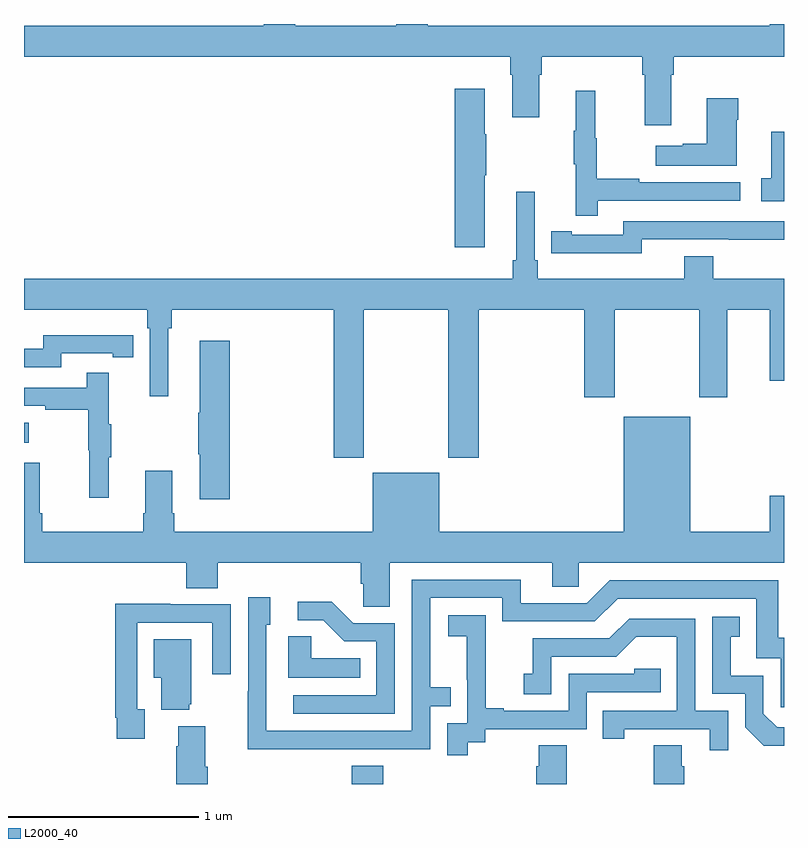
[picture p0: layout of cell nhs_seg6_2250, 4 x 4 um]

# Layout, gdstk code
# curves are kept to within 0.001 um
import gdstk
lib = gdstk.Library(unit=1e-6, precision=1e-09)
def R(c, l, rs):  # rectangles x0, y0, x1, y1
    for r in rs: c.add(gdstk.rectangle(r[:2], r[2:], *l))
def P(c, l, *ps):  # polygons
    for p in ps: c.add(gdstk.Polygon(p, *l))
L2000_40 = (2000, 40)

nhs_seg6_2250 = lib.new_cell('nhs_seg6_2250')
R(nhs_seg6_2250, L2000_40, [(246.725,951.5,246.89,951.595), (245,953.297,245.026,953.401)])
P(nhs_seg6_2250, L2000_40, [(248.407,955.232),(248.42,955.232),(248.42,955.328),(249,955.328),(249,955.5),(248.924,955.5),(248.924,955.492),(247.124,955.492),(247.124,955.5),(246.959,955.5),(246.959,955.492),(246.428,955.492),(246.428,955.5),(246.263,955.5),(246.263,955.492),(245,955.492),(245,955.328),(247.559,955.328),(247.559,955.232),(247.571,955.232),(247.571,955.008),(247.711,955.008),(247.711,955.232),(247.724,955.232),(247.724,955.328),(248.255,955.328),(248.255,955.232),(248.267,955.232),(248.267,954.966),(248.407,954.966)],
  [(247.426,954.703),(247.434,954.703),(247.434,954.92),(247.426,954.92),(247.426,955.159),(247.268,955.159),(247.268,954.324),(247.426,954.324)],
  [(248.021,954.57),(248.77,954.57),(248.77,954.666),(248.237,954.666),(248.237,954.686),(248.014,954.686),(248.014,954.9),(248.006,954.9),(248.006,955.15),(247.904,955.15),(247.904,954.937),(247.893,954.937),(247.893,954.763),(247.904,954.763),(247.904,954.492),(248.021,954.492)],
  [(248.752,954.995),(248.76,954.995),(248.76,955.108),(248.594,955.108),(248.594,954.869),(248.468,954.869),(248.468,954.859),(248.325,954.859),(248.325,954.755),(248.752,954.755)],
  [(249,954.934),(248.933,954.934),(248.933,954.687),(248.88,954.687),(248.88,954.567),(249,954.567)],
  [(246.789,953.996),(247.234,953.996),(247.234,953.217),(247.394,953.217),(247.394,953.996),(247.949,953.996),(247.949,953.535),(248.109,953.535),(248.109,953.996),(248.554,953.996),(248.554,953.535),(248.701,953.535),(248.701,953.996),(248.924,953.996),(248.924,953.622),(249,953.622),(249,954.16),(248.627,954.16),(248.627,954.277),(248.474,954.277),(248.474,954.16),(247.703,954.16),(247.703,954.256),(247.689,954.256),(247.689,954.616),(247.592,954.616),(247.592,954.256),(247.573,954.256),(247.573,954.16),(245,954.16),(245,953.996),(245.648,953.996),(245.648,953.9),(245.661,953.9),(245.661,953.541),(245.758,953.541),(245.758,953.9),(245.777,953.9),(245.777,953.996),(246.629,953.996),(246.629,953.217),(246.789,953.217)],
  [(248.25,954.366),(248.71,954.366),(248.71,954.365),(249,954.365),(249,954.462),(248.154,954.462),(248.154,954.39),(247.882,954.39),(247.882,954.41),(247.774,954.41),(247.774,954.294),(247.882,954.294),(247.882,954.293),(248.25,954.293)],
  [(245.196,953.766),(245.468,953.766),(245.468,953.746),(245.576,953.746),(245.576,953.862),(245.468,953.862),(245.468,953.863),(245.1,953.863),(245.1,953.79),(245,953.79),(245,953.694),(245.196,953.694)],
  [(246.083,953.833),(245.924,953.833),(245.924,953.453),(245.917,953.453),(245.917,953.236),(245.924,953.236),(245.924,952.998),(246.083,952.998)],
  [(245.447,953.219),(245.458,953.219),(245.458,953.393),(245.447,953.393),(245.447,953.665),(245.329,953.665),(245.329,953.586),(245,953.586),(245,953.49),(245.113,953.49),(245.113,953.47),(245.337,953.47),(245.337,953.256),(245.344,953.256),(245.344,953.007),(245.447,953.007)],
  [(246.925,952.664),(247.781,952.664),(247.781,952.537),(247.92,952.537),(247.92,952.664),(249,952.664),(249,953.017),(248.924,953.017),(248.924,952.828),(248.506,952.828),(248.506,953.434),(248.156,953.434),(248.156,952.828),(247.186,952.828),(247.186,953.137),(246.836,953.137),(246.836,952.828),(245.792,952.828),(245.792,952.924),(245.779,952.924),(245.779,953.149),(245.639,953.149),(245.639,952.924),(245.627,952.924),(245.627,952.828),(245.096,952.828),(245.096,952.924),(245.083,952.924),(245.083,953.191),(245,953.191),(245,952.664),(245.855,952.664),(245.855,952.531),(246.02,952.531),(246.02,952.664),(246.773,952.664),(246.773,952.555),(246.786,952.555),(246.786,952.432),(246.925,952.432)],
  [(246.641,951.684),(247.137,951.684),(247.137,951.909),(247.247,951.909),(247.247,952.01),(247.137,952.01),(247.137,952.479),(247.518,952.479),(247.518,952.356),(248.004,952.356),(248.124,952.476),(248.853,952.476),(248.853,952.161),(248.982,952.161),(248.982,951.903),(249,951.903),(249,952.27),(248.969,952.27),(248.969,952.572),(248.082,952.572),(247.962,952.452),(247.615,952.452),(247.615,952.575),(247.041,952.575),(247.041,951.78),(246.276,951.78),(246.276,952.338),(246.295,952.338),(246.295,952.483),(246.18,952.483),(246.18,951.989),(246.178,951.989),(246.178,951.683)],
  [(246.951,952.347),(246.732,952.347),(246.619,952.46),(246.441,952.46),(246.441,952.362),(246.575,952.362),(246.686,952.251),(246.855,952.251),(246.855,951.966),(246.417,951.966),(246.417,951.87),(246.951,951.87)],
  [(245.635,951.894),(245.595,951.894),(245.595,952.35),(245.991,952.35),(245.991,952.077),(246.087,952.077),(246.087,952.446),(245.771,952.446),(245.771,952.448),(245.479,952.448),(245.479,951.85),(245.487,951.85),(245.487,951.738),(245.635,951.738)],
  [(247.336,951.721),(247.428,951.721),(247.428,951.789),(247.962,951.789),(247.962,951.984),(248.351,951.984),(248.351,952.107),(248.211,952.107),(248.211,952.08),(247.866,952.08),(247.866,951.885),(247.525,951.885),(247.525,951.898),(247.43,951.898),(247.43,952.181),(247.431,952.181),(247.431,952.387),(247.233,952.387),(247.233,952.277),(247.331,952.277),(247.331,952.049),(247.332,952.049),(247.332,951.819),(247.227,951.819),(247.227,951.651),(247.336,951.651)],
  [(249,951.798),(248.964,951.798),(248.892,951.87),(248.892,952.071),(248.719,952.071),(248.719,952.275),(248.768,952.275),(248.768,952.381),(248.622,952.381),(248.622,951.975),(248.796,951.975),(248.796,951.798),(248.894,951.701),(249,951.701)],
  [(248.706,951.885),(248.532,951.885),(248.532,952.371),(248.186,952.371),(248.081,952.266),(247.678,952.266),(247.678,952.081),(247.629,952.081),(247.629,951.972),(247.776,951.972),(247.776,952.17),(248.118,952.17),(248.222,952.274),(248.436,952.274),(248.436,951.885),(248.047,951.885),(248.047,951.738),(248.158,951.738),(248.158,951.789),(248.609,951.789),(248.609,951.678),(248.706,951.678)],
  [(246.77,952.162),(246.513,952.162),(246.513,952.277),(246.392,952.277),(246.392,952.058),(246.77,952.058)],
  [(245.87,951.921),(245.881,951.921),(245.881,952.261),(245.684,952.261),(245.684,952.058),(245.723,952.058),(245.723,951.89),(245.87,951.89)],
  [(245.966,951.592),(245.953,951.592),(245.953,951.805),(245.813,951.805),(245.813,951.698),(245.801,951.698),(245.801,951.5),(245.966,951.5)],
  [(248.474,951.594),(248.461,951.594),(248.461,951.704),(248.314,951.704),(248.314,951.5),(248.474,951.5)],
  [(247.857,951.704),(247.709,951.704),(247.709,951.594),(247.697,951.594),(247.697,951.5),(247.857,951.5)])

lib.write_gds('nhs_seg6_2250.gds')
